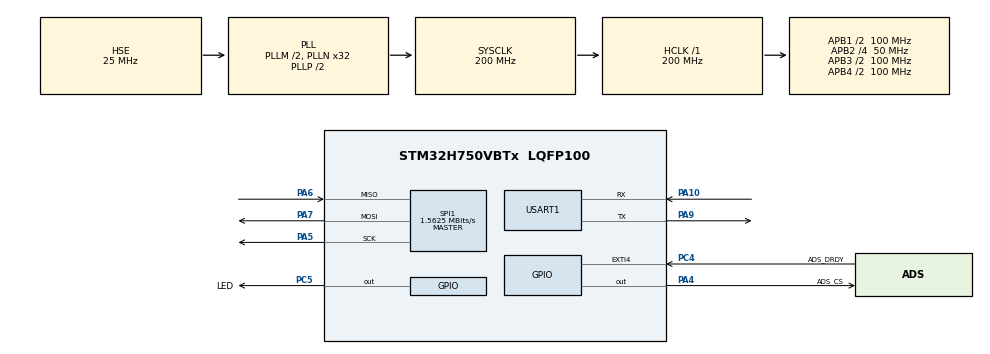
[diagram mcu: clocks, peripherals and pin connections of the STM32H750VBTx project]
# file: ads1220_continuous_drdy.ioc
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Mcu.Family=STM32H7
Mcu.Name=STM32H750VBTx
Mcu.Package=LQFP100
NVIC.EXTI4_IRQn=true\:0\:0\:false\:false\:true\:true\:true\:true
NVIC.PriorityGroup=NVIC_PRIORITYGROUP_4
NVIC.TIM17_IRQn=true\:15\:0\:false\:false\:true\:false\:true\:true
NVIC.TimeBase=TIM17_IRQn
NVIC.TimeBaseIP=TIM17
PA10.Mode=Asynchronous
PA10.Signal=USART1_RX
PA13\ (JTMS/SWDIO).Mode=Serial_Wire
PA13\ (JTMS/SWDIO).Signal=DEBUG_JTMS-SWDIO
PA14\ (JTCK/SWCLK).Mode=Serial_Wire
PA14\ (JTCK/SWCLK).Signal=DEBUG_JTCK-SWCLK
PA4.GPIO_Label=ADS_CS
PA4.GPIO_PuPd=GPIO_PULLUP
PA4.PinState=GPIO_PIN_SET
PA4.Signal=GPIO_Output
PA5.Mode=Full_Duplex_Master
PA5.Signal=SPI1_SCK
PA6.Mode=Full_Duplex_Master
PA6.Signal=SPI1_MISO
PA7.Mode=Full_Duplex_Master
PA7.Signal=SPI1_MOSI
PA9.Mode=Asynchronous
PA9.Signal=USART1_TX
PC4.GPIO_Label=ADS_DRDY
PC4.GPIO_ModeDefaultEXTI=GPIO_MODE_IT_FALLING
PC4.GPIO_PuPd=GPIO_PULLUP
PC4.Signal=GPXTI4
PC5.GPIO_Label=LED
PC5.Signal=GPIO_Output
PH0-OSC_IN\ (PH0).Mode=HSE-External-Oscillator
PH0-OSC_IN\ (PH0).Signal=RCC_OSC_IN
PH1-OSC_OUT\ (PH1).Mode=HSE-External-Oscillator
PH1-OSC_OUT\ (PH1).Signal=RCC_OSC_OUT
ProjectManager.HeapSize=0x200
ProjectManager.StackSize=0x400
ProjectManager.TargetToolchain=STM32CubeIDE
RCC.ADCFreq_Value=40000000
RCC.APB1Freq_Value=100000000
RCC.APB2Freq_Value=50000000
RCC.APB3Freq_Value=100000000
RCC.APB4Freq_Value=100000000
RCC.CortexFreq_Value=200000000
RCC.D1PPRE=RCC_APB3_DIV2
RCC.D2PPRE1=RCC_APB1_DIV2
RCC.D2PPRE2=RCC_APB2_DIV4
RCC.D3PPRE=RCC_APB4_DIV2
RCC.DIVM1=2
RCC.DIVM2=25
RCC.DIVM3=2
RCC.DIVN1=32
RCC.DIVN2=160
RCC.DIVN3=12
RCC.DIVP2=4
RCC.DIVQ1=4
RCC.DIVQ3=3
RCC.HCLKFreq_Value=200000000
RCC.PLL3FRACN=0
RCC.PLLFRACN=0
RCC.PLLSourceVirtual=RCC_PLLSOURCE_HSE
RCC.SYSCLKFreq_VALUE=200000000
RCC.SYSCLKSource=RCC_SYSCLKSOURCE_PLLCLK
RCC.USBCLockSelection=RCC_USBCLKSOURCE_PLL3
RCC.USBFreq_Value=50000000
SPI1.BaudRatePrescaler=SPI_BAUDRATEPRESCALER_64
SPI1.CLKPhase=SPI_PHASE_2EDGE
SPI1.CalculateBaudRate=1.5625 MBits/s
SPI1.DataSize=SPI_DATASIZE_8BIT
SPI1.Direction=SPI_DIRECTION_2LINES
SPI1.Mode=SPI_MODE_MASTER
SPI1.VirtualType=VM_MASTER
USART1.VirtualMode-Asynchronous=VM_ASYNC
VP_SYS_VS_tim17.Mode=TIM17
board=custom

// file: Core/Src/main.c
/* USER CODE BEGIN Header */
/**
  ******************************************************************************
  * @file           : main.c
  * @brief          : Main program body
  ******************************************************************************
  * @attention
  *
  * Copyright (c) 2024 STMicroelectronics.
  * All rights reserved.
  *
  * This software is licensed under terms that can be found in the LICENSE file
  * in the root directory of this software component.
  * If no LICENSE file comes with this software, it is provided AS-IS.
  *
  ******************************************************************************
  */
/* USER CODE END Header */
#include "main.h"

/* USER CODE BEGIN Includes */
#include "use.h"
/* USER CODE END Includes */

SPI_HandleTypeDef hspi1;

UART_HandleTypeDef huart1;

void SystemClock_Config(void);
static void MX_GPIO_Init(void);
static void MX_SPI1_Init(void);
static void MX_USART1_UART_Init(void);

/* USER CODE BEGIN 0 */
#ifdef __GNUC__
/* With GCC/RAISONANCE, small printf (option LD Linker->Libraries->Small printf
   set to 'Yes') calls __io_putchar() */
#define PUTCHAR_PROTOTYPE int __io_putchar(int ch)
#else
#define PUTCHAR_PROTOTYPE int fputc(int ch, FILE *f)
#endif /* __GNUC__ */
PUTCHAR_PROTOTYPE
{
  HAL_UART_Transmit(&huart1, (uint8_t *)&ch, 1, 0xFFFF);
  return ch;
}
/* USER CODE END 0 */

int main(void)
{

  /* MCU Configuration--------------------------------------------------------*/

  /* Reset of all peripherals, Initializes the Flash interface and the Systick. */
  HAL_Init();

  /* Configure the system clock */
  SystemClock_Config();

  /* Initialize all configured peripherals */
  MX_GPIO_Init();
  MX_SPI1_Init();
  MX_USART1_UART_Init();
  /* USER CODE BEGIN 2 */
  setup();
  /* USER CODE END 2 */

  /* Infinite loop */
  while (1)
  {

    /* USER CODE BEGIN 3 */
	  loop();
  }
  /* USER CODE END 3 */
}

void SystemClock_Config(void)
{
  RCC_OscInitTypeDef RCC_OscInitStruct = {0};
  RCC_ClkInitTypeDef RCC_ClkInitStruct = {0};

  /** Supply configuration update enable
  */
  HAL_PWREx_ConfigSupply(PWR_LDO_SUPPLY);

  /** Configure the main internal regulator output voltage
  */
  __HAL_PWR_VOLTAGESCALING_CONFIG(PWR_REGULATOR_VOLTAGE_SCALE3);

  while(!__HAL_PWR_GET_FLAG(PWR_FLAG_VOSRDY)) {}

  /** Initializes the RCC Oscillators according to the specified parameters
  * in the RCC_OscInitTypeDef structure.
  */
  RCC_OscInitStruct.OscillatorType = RCC_OSCILLATORTYPE_HSE;
  RCC_OscInitStruct.HSEState = RCC_HSE_ON;
  RCC_OscInitStruct.PLL.PLLState = RCC_PLL_ON;
  RCC_OscInitStruct.PLL.PLLSource = RCC_PLLSOURCE_HSE;
  RCC_OscInitStruct.PLL.PLLM = 2;
  RCC_OscInitStruct.PLL.PLLN = 32;
  RCC_OscInitStruct.PLL.PLLP = 2;
  RCC_OscInitStruct.PLL.PLLQ = 4;
  RCC_OscInitStruct.PLL.PLLR = 2;
  RCC_OscInitStruct.PLL.PLLRGE = RCC_PLL1VCIRANGE_3;
  RCC_OscInitStruct.PLL.PLLVCOSEL = RCC_PLL1VCOWIDE;
  RCC_OscInitStruct.PLL.PLLFRACN = 0;
  if (HAL_RCC_OscConfig(&RCC_OscInitStruct) != HAL_OK)
  {
    Error_Handler();
  }

  /** Initializes the CPU, AHB and APB buses clocks
  */
  RCC_ClkInitStruct.ClockType = RCC_CLOCKTYPE_HCLK|RCC_CLOCKTYPE_SYSCLK
                              |RCC_CLOCKTYPE_PCLK1|RCC_CLOCKTYPE_PCLK2
                              |RCC_CLOCKTYPE_D3PCLK1|RCC_CLOCKTYPE_D1PCLK1;
  RCC_ClkInitStruct.SYSCLKSource = RCC_SYSCLKSOURCE_PLLCLK;
  RCC_ClkInitStruct.SYSCLKDivider = RCC_SYSCLK_DIV1;
  RCC_ClkInitStruct.AHBCLKDivider = RCC_HCLK_DIV1;
  RCC_ClkInitStruct.APB3CLKDivider = RCC_APB3_DIV2;
  RCC_ClkInitStruct.APB1CLKDivider = RCC_APB1_DIV2;
  RCC_ClkInitStruct.APB2CLKDivider = RCC_APB2_DIV4;
  RCC_ClkInitStruct.APB4CLKDivider = RCC_APB4_DIV2;

  if (HAL_RCC_ClockConfig(&RCC_ClkInitStruct, FLASH_LATENCY_4) != HAL_OK)
  {
    Error_Handler();
  }
}

static void MX_SPI1_Init(void)
{

  /* SPI1 parameter configuration*/
  hspi1.Instance = SPI1;
  hspi1.Init.Mode = SPI_MODE_MASTER;
  hspi1.Init.Direction = SPI_DIRECTION_2LINES;
  hspi1.Init.DataSize = SPI_DATASIZE_8BIT;
  hspi1.Init.CLKPolarity = SPI_POLARITY_LOW;
  hspi1.Init.CLKPhase = SPI_PHASE_2EDGE;
  hspi1.Init.NSS = SPI_NSS_SOFT;
  hspi1.Init.BaudRatePrescaler = SPI_BAUDRATEPRESCALER_64;
  hspi1.Init.FirstBit = SPI_FIRSTBIT_MSB;
  hspi1.Init.TIMode = SPI_TIMODE_DISABLE;
  hspi1.Init.CRCCalculation = SPI_CRCCALCULATION_DISABLE;
  hspi1.Init.CRCPolynomial = 0x0;
  hspi1.Init.NSSPMode = SPI_NSS_PULSE_ENABLE;
  hspi1.Init.NSSPolarity = SPI_NSS_POLARITY_LOW;
  hspi1.Init.FifoThreshold = SPI_FIFO_THRESHOLD_01DATA;
  hspi1.Init.TxCRCInitializationPattern = SPI_CRC_INITIALIZATION_ALL_ZERO_PATTERN;
  hspi1.Init.RxCRCInitializationPattern = SPI_CRC_INITIALIZATION_ALL_ZERO_PATTERN;
  hspi1.Init.MasterSSIdleness = SPI_MASTER_SS_IDLENESS_00CYCLE;
  hspi1.Init.MasterInterDataIdleness = SPI_MASTER_INTERDATA_IDLENESS_00CYCLE;
  hspi1.Init.MasterReceiverAutoSusp = SPI_MASTER_RX_AUTOSUSP_DISABLE;
  hspi1.Init.MasterKeepIOState = SPI_MASTER_KEEP_IO_STATE_DISABLE;
  hspi1.Init.IOSwap = SPI_IO_SWAP_DISABLE;
  if (HAL_SPI_Init(&hspi1) != HAL_OK)
  {
    Error_Handler();
  }

}

static void MX_USART1_UART_Init(void)
{

  huart1.Instance = USART1;
  huart1.Init.BaudRate = 115200;
  huart1.Init.WordLength = UART_WORDLENGTH_8B;
  huart1.Init.StopBits = UART_STOPBITS_1;
  huart1.Init.Parity = UART_PARITY_NONE;
  huart1.Init.Mode = UART_MODE_TX_RX;
  huart1.Init.HwFlowCtl = UART_HWCONTROL_NONE;
  huart1.Init.OverSampling = UART_OVERSAMPLING_16;
  huart1.Init.OneBitSampling = UART_ONE_BIT_SAMPLE_DISABLE;
  huart1.Init.ClockPrescaler = UART_PRESCALER_DIV1;
  huart1.AdvancedInit.AdvFeatureInit = UART_ADVFEATURE_NO_INIT;
  if (HAL_UART_Init(&huart1) != HAL_OK)
  {
    Error_Handler();
  }
  if (HAL_UARTEx_SetTxFifoThreshold(&huart1, UART_TXFIFO_THRESHOLD_1_8) != HAL_OK)
  {
    Error_Handler();
  }
  if (HAL_UARTEx_SetRxFifoThreshold(&huart1, UART_RXFIFO_THRESHOLD_1_8) != HAL_OK)
  {
    Error_Handler();
  }
  if (HAL_UARTEx_DisableFifoMode(&huart1) != HAL_OK)
  {
    Error_Handler();
  }

}

static void MX_GPIO_Init(void)
{
  GPIO_InitTypeDef GPIO_InitStruct = {0};

  /* GPIO Ports Clock Enable */
  __HAL_RCC_GPIOH_CLK_ENABLE();
  __HAL_RCC_GPIOA_CLK_ENABLE();
  __HAL_RCC_GPIOC_CLK_ENABLE();

  /*Configure GPIO pin Output Level */
  HAL_GPIO_WritePin(ADS_CS_GPIO_Port, ADS_CS_Pin, GPIO_PIN_SET);

  /*Configure GPIO pin Output Level */
  HAL_GPIO_WritePin(LED_GPIO_Port, LED_Pin, GPIO_PIN_RESET);

  /*Configure GPIO pin : ADS_CS_Pin */
  GPIO_InitStruct.Pin = ADS_CS_Pin;
  GPIO_InitStruct.Mode = GPIO_MODE_OUTPUT_PP;
  GPIO_InitStruct.Pull = GPIO_PULLUP;
  GPIO_InitStruct.Speed = GPIO_SPEED_FREQ_LOW;
  HAL_GPIO_Init(ADS_CS_GPIO_Port, &GPIO_InitStruct);

  /*Configure GPIO pin : ADS_DRDY_Pin */
  GPIO_InitStruct.Pin = ADS_DRDY_Pin;
  GPIO_InitStruct.Mode = GPIO_MODE_IT_FALLING;
  GPIO_InitStruct.Pull = GPIO_PULLUP;
  HAL_GPIO_Init(ADS_DRDY_GPIO_Port, &GPIO_InitStruct);

  /*Configure GPIO pin : LED_Pin */
  GPIO_InitStruct.Pin = LED_Pin;
  GPIO_InitStruct.Mode = GPIO_MODE_OUTPUT_PP;
  GPIO_InitStruct.Pull = GPIO_NOPULL;
  GPIO_InitStruct.Speed = GPIO_SPEED_FREQ_LOW;
  HAL_GPIO_Init(LED_GPIO_Port, &GPIO_InitStruct);

  /* EXTI interrupt init*/
  HAL_NVIC_SetPriority(EXTI4_IRQn, 0, 0);
  HAL_NVIC_EnableIRQ(EXTI4_IRQn);

}

/* USER CODE BEGIN 4 */
void HAL_GPIO_EXTI_Callback(uint16_t GPIO_Pin)
{
	/* EXTI line interrupt detected */
	if (__HAL_GPIO_EXTI_GET_IT(GPIO_Pin) != ADS_DRDY_Pin){
		drdy_callback();
		__HAL_GPIO_EXTI_CLEAR_IT(ADS_DRDY_Pin); // Clears The Interrupt Flag
	}
}
/* USER CODE END 4 */

void HAL_TIM_PeriodElapsedCallback(TIM_HandleTypeDef *htim)
{
  if (htim->Instance == TIM17) {
    HAL_IncTick();
  }
}

void Error_Handler(void)
{
  __disable_irq();
  while (1)
  {
  }
}
